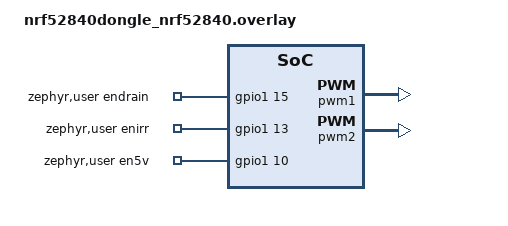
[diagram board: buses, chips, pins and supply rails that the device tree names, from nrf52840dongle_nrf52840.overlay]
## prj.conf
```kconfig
#
# Copyright (c) 2019 Nordic Semiconductor ASA
#
# SPDX-License-Identifier: LicenseRef-BSD-5-Clause-Nordic
#
CONFIG_NCS_SAMPLES_DEFAULTS=y

# General configuration
CONFIG_SYSTEM_WORKQUEUE_STACK_SIZE=2048
CONFIG_FLASH=y
CONFIG_FLASH_MAP=y
CONFIG_NVS=y
CONFIG_SETTINGS=y
CONFIG_HWINFO=y

# Bluetooth configuration
CONFIG_BT=y
CONFIG_BT_COMPANY_ID=0x0059
CONFIG_BT_DEVICE_NAME="Servo Valve v2"
CONFIG_BT_L2CAP_TX_MTU=69
CONFIG_BT_L2CAP_TX_BUF_COUNT=8
CONFIG_BT_OBSERVER=y
CONFIG_BT_PERIPHERAL=y
CONFIG_BT_SETTINGS=y
CONFIG_BT_TINYCRYPT_ECC=y
CONFIG_BT_MAX_CONN=3

# Disable unused Bluetooth features
CONFIG_BT_CTLR_DUP_FILTER_LEN=0
CONFIG_BT_CTLR_LE_ENC=n
CONFIG_BT_DATA_LEN_UPDATE=n
CONFIG_BT_PHY_UPDATE=n
CONFIG_BT_CTLR_CHAN_SEL_2=n
CONFIG_BT_CTLR_MIN_USED_CHAN=n
CONFIG_BT_CTLR_PRIVACY=n

# Bluetooth Mesh configuration standrad node configuration
CONFIG_BT_MESH=y
CONFIG_BT_MESH_ADV_BUF_COUNT=13
CONFIG_BT_MESH_TX_SEG_MAX=10
CONFIG_BT_MESH_PB_GATT=y
# Bluetooth Mesh Node Features Normal
#CONFIG_BT_MESH_RELAY=y
#CONFIG_BT_MESH_FRIEND=y
#CONFIG_BT_MESH_FRIEND_LPN_COUNT=10
#CONFIG_BT_MESH_GATT_PROXY=y
# Bluetooth Mesh Node Features LPN
CONFIG_BT_MESH_RELAY=n
CONFIG_BT_MESH_FRIEND=n
CONFIG_BT_MESH_LOW_POWER=y
CONFIG_BT_MESH_LPN_AUTO=y
CONFIG_BT_MESH_LPN_AUTO_TIMEOUT=5
#600 = 60s
CONFIG_BT_MESH_LPN_POLL_TIMEOUT=100
CONFIG_BT_MESH_GATT_PROXY=n
# Power Managment Device -> Needed for LPN
CONFIG_PM=y
CONFIG_PM_DEVICE=y
CONFIG_PM_DEVICE_RUNTIME=y
CONFIG_PM_CPU_OPS=y
#CONFIG_SERIAL=n

# Bluetooth Mesh models
CONFIG_BT_MESH_ONOFF_SRV=y

# GPIO
CONFIG_GPIO=y

# Servos PWM
CONFIG_PWM=y
CONFIG_PWM_LOG_LEVEL_DBG=y

#For Reset
CONFIG_REBOOT=y

#For nRF52 Dongle (enable if flashed over USB / Disable if FLashed over SWD)
CONFIG_BOARD_HAS_NRF5_BOOTLOADER=y

#For Long Range Bluetooth Mesh
CONFIG_BT_CTLR_TX_PWR_PLUS_8=y
CONFIG_BT_MESH_ADV_EXT=y
```

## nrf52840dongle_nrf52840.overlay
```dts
/ {
	aliases {
		pwm-servo-valve-drain = &pwm_drain_valve;
		pwm-servo-valve-irrigation = &pwm_irrigation_valve;
	};

	pwmleds {
		pwm_drain_valve: pwm_drain_valve {
			pwms = <&pwm1 31>;
		};
		pwm_irrigation_valve: pwm_irrigation_valve {
			pwms = <&pwm2 29>;
		};
	};
};



&pwm1 {
	status = "okay";
	ch0-pin = <31>;
	ch0-inverted;
};

&pwm2 {
	status = "okay";
	ch0-pin = <29>;
	ch0-inverted;
};

#include <dt-bindings/gpio/gpio.h>

/ {
     zephyr,user {
             handle = <&gpio0>;
             handles = <&gpio0>, <&gpio1>;
             endrain-gpios = <&gpio1 15 GPIO_ACTIVE_HIGH>;
			 enirr-gpios = <&gpio1 13 GPIO_ACTIVE_HIGH>;
			 en5v-gpios = <&gpio1 10 GPIO_ACTIVE_HIGH>;
     };
};
```

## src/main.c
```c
#include <zephyr.h>
#include <sys/reboot.h>
#include <sys/util.h>
#include <device.h>
#include <drivers/gpio.h>
#include <drivers/pwm.h>
#include <drivers/hwinfo.h>
#include <pm/device.h>

#include <bluetooth/bluetooth.h>
#include <bluetooth/mesh.h>
#include <bluetooth/mesh/models.h>
#include <bluetooth/mesh/model_types.h>

/* ---------- Led ------------------- */
static struct gpio_dt_spec led = GPIO_DT_SPEC_GET_OR(DT_ALIAS(led0), gpios,{0});

/* ---------- Reset Button ------------------- */
static const struct gpio_dt_spec button = GPIO_DT_SPEC_GET_OR(DT_ALIAS(sw0), gpios, {0});
static struct gpio_callback button_cb_data;
static struct k_work_delayable buttons_debounce;

static void reset()
{
  printk("Reboot now!\n");
  sys_reboot(SYS_REBOOT_COLD);
}

static void buttons_debounce_fn(struct k_work *work)
{
  if (gpio_pin_get_dt(&button) == true)
  {
    reset();
  }
}

void button_pressed(const struct device *dev, struct gpio_callback *cb,
                    uint32_t pins)
{
  printk("Button pressed at %" PRIu32 "\n", k_cycle_get_32());
  k_work_reschedule(&buttons_debounce, K_MSEC(5 * 1000)); // Debounce the Button
}

/* ---------- PWM Servo Valves ------------------- */
#define PERIOD_USEC (20U * USEC_PER_MSEC)
#define VALVE_CLOSED_PULSE_USEC (177U * 100)
#define VALVE_OPEND_PULSE_USEC (187U * 100)

#define PWM_DRAIN_VALVE_NODE                DT_NODELABEL(pwm_drain_valve)
#define PWM_DRAIN_VALVE_CTLR                DT_PWMS_CTLR(PWM_DRAIN_VALVE_NODE)
#define PWM_DRAIN_VALVE_CHANNEL             DT_PWMS_CHANNEL(PWM_DRAIN_VALVE_NODE)

#define PWM_IRRIGATION_VALVE_NODE                DT_NODELABEL(pwm_irrigation_valve)
#define PWM_IRRIGATION_VALVE_CTLR                DT_PWMS_CTLR(PWM_IRRIGATION_VALVE_NODE)
#define PWM_IRRIGATION_VALVE_CHANNEL             DT_PWMS_CHANNEL(PWM_IRRIGATION_VALVE_NODE)

static const struct device *pwm_valve_drain;
static const struct device *pwm_valve_irrigation;

/* ---------- GPIO User ------------------- */
static const struct gpio_dt_spec gpio_enable_drain = GPIO_DT_SPEC_GET(DT_PATH(zephyr_user), endrain_gpios);
static const struct gpio_dt_spec gpio_enable_irr = GPIO_DT_SPEC_GET(DT_PATH(zephyr_user), enirr_gpios);
static const struct gpio_dt_spec gpio_enable_5v = GPIO_DT_SPEC_GET(DT_PATH(zephyr_user), en5v_gpios);
static struct k_work_delayable gpio_enable_valves_off;

static void gpio_enable_valves_off_fn(struct k_work *work)
{
  gpio_pin_set_dt(&gpio_enable_drain, 0);
  gpio_pin_set_dt(&gpio_enable_irr, 0);
  gpio_pin_set_dt(&gpio_enable_5v, 0);
  device_busy_clear(pwm_valve_irrigation);
  device_busy_clear(pwm_valve_drain);
}

/* ------------ Bluetooth Mesh -------------- */
/* Provisioning */
static int output_number(bt_mesh_output_action_t action, uint32_t number)
{
  printk("OOB Number: %u\n", number);
  return 0;
}

static void prov_complete(uint16_t net_idx, uint16_t addr)
{
  printk("Prov complete! Addr: 0x%04x\n", addr);
}

static void prov_reset(void)
{
  printk("Prov reset!\n");
  bt_mesh_prov_enable(BT_MESH_PROV_ADV | BT_MESH_PROV_GATT);
}

static uint8_t dev_uuid[16];

static const struct bt_mesh_prov prov = {
    .uuid = dev_uuid,
    .output_size = 4,
    .output_actions = BT_MESH_DISPLAY_NUMBER,
    .output_number = output_number,
    .complete = prov_complete,
    .reset = prov_reset,
};

/* ON/OFF Server definition drain valve */
static void valve_set(struct bt_mesh_onoff_srv *srv, struct bt_mesh_msg_ctx *ctx, const struct bt_mesh_onoff_set *set, struct bt_mesh_onoff_status *rsp);
static void valve_get(struct bt_mesh_onoff_srv *srv, struct bt_mesh_msg_ctx *ctx, struct bt_mesh_onoff_status *rsp);

static const struct bt_mesh_onoff_srv_handlers onoff_handlers = {
    .set = valve_set,
    .get = valve_get,
};

struct valve_ctx {
	struct bt_mesh_onoff_srv srv;
  bool status;
};

static struct valve_ctx valve_ctx[] = {
  { .srv = BT_MESH_ONOFF_SRV_INIT(&onoff_handlers)},
  { .srv = BT_MESH_ONOFF_SRV_INIT(&onoff_handlers)},
};

static void valve_set(struct bt_mesh_onoff_srv *srv, struct bt_mesh_msg_ctx *ctx, const struct bt_mesh_onoff_set *set, struct bt_mesh_onoff_status *rsp)
{
  gpio_pin_set_dt(&led, set->on_off);
  struct valve_ctx *valve = CONTAINER_OF(srv, struct valve_ctx, srv);
  int valve_idx = valve - &valve_ctx[0];
  if (valve_idx == 0){
    device_busy_set(pwm_valve_drain);
    gpio_pin_set_dt(&gpio_enable_drain, 1);
    pwm_pin_set_usec(pwm_valve_drain, PWM_DRAIN_VALVE_CHANNEL, PERIOD_USEC, set->on_off ? VALVE_OPEND_PULSE_USEC : VALVE_CLOSED_PULSE_USEC, 0);       //Drain Valve
  } else if (valve_idx == 1){
    device_busy_set(pwm_valve_irrigation);
    gpio_pin_set_dt(&gpio_enable_irr, 1);
    pwm_pin_set_usec(pwm_valve_irrigation, PWM_IRRIGATION_VALVE_CHANNEL, PERIOD_USEC, set->on_off ? VALVE_OPEND_PULSE_USEC : VALVE_CLOSED_PULSE_USEC, 0);       //Irrigation Valve
  }
  gpio_pin_set_dt(&gpio_enable_5v, 1);
  valve_ctx[valve_idx].status = set->on_off;
  k_work_reschedule(&gpio_enable_valves_off, K_MSEC(300));
}

static void valve_get(struct bt_mesh_onoff_srv *srv, struct bt_mesh_msg_ctx *ctx, struct bt_mesh_onoff_status *rsp)
{
  struct valve_ctx *valve = CONTAINER_OF(srv, struct valve_ctx, srv);
  int valve_idx = valve - &valve_ctx[0];
  rsp->present_on_off = valve_ctx[valve_idx].status;
}

/* Health Server definition */
static void attention_on(struct bt_mesh_model *model)
{
  printk("attention_on!\n");
}
static void attention_off(struct bt_mesh_model *model)
{
  printk("attention_off!\n");
}
static const struct bt_mesh_health_srv_cb health_srv_cb = {
    .attn_on = attention_on,
    .attn_off = attention_off,
};
static struct bt_mesh_health_srv health_srv = {
    .cb = &health_srv_cb,
};
BT_MESH_HEALTH_PUB_DEFINE(health_pub, 0);

/* Define all Elements */
static struct bt_mesh_elem elements[] = {
    BT_MESH_ELEM(
        1, BT_MESH_MODEL_LIST(BT_MESH_MODEL_CFG_SRV, BT_MESH_MODEL_HEALTH_SRV(&health_srv, &health_pub), BT_MESH_MODEL_ONOFF_SRV(&valve_ctx[0].srv)),BT_MESH_MODEL_NONE),
    BT_MESH_ELEM(
        2, BT_MESH_MODEL_LIST(BT_MESH_MODEL_ONOFF_SRV(&valve_ctx[1].srv)),BT_MESH_MODEL_NONE)};

/* Create Composition */
static const struct bt_mesh_comp comp = {
    .cid = CONFIG_BT_COMPANY_ID,
    .elem = elements,
    .elem_count = ARRAY_SIZE(elements),
};

/* Bluetooth */
static void bt_ready(int err)
{
  if (err)
  {
    printk("Bluetooth init failed (err %d)\n", err);
    return;
  }

  printk("Bluetooth initialized\n");

  err = bt_mesh_init(&prov, &comp);
  if (err)
  {
    printk("Initializing mesh failed (err %d)\n", err);
    return;
  }

  if (IS_ENABLED(CONFIG_SETTINGS))
  {
    settings_load();
  }

  /* --------------- Reset Mesh ------------*/
	if(gpio_pin_get_dt(&button)){
		printk("Reset Mesh!\n");
		bt_mesh_reset();
	}

  /* This will be a no-op if settings_load() loaded provisioning info */
  bt_mesh_prov_enable(BT_MESH_PROV_ADV | BT_MESH_PROV_GATT);

  printk("Mesh initialized\n");
}

/**@brief Function for setup
 */
void setup(void)
{
  //Init Led
  gpio_pin_configure_dt(&led, GPIO_OUTPUT_INACTIVE);
  //Init Reset Button
  gpio_pin_configure_dt(&button, GPIO_INPUT);
  gpio_pin_interrupt_configure_dt(&button, GPIO_INT_EDGE_TO_ACTIVE);
  gpio_init_callback(&button_cb_data, button_pressed, BIT(button.pin));
  gpio_add_callback(button.port, &button_cb_data);
  k_work_init_delayable(&buttons_debounce, buttons_debounce_fn);
  //Init Valves
  pwm_valve_drain = DEVICE_DT_GET(PWM_DRAIN_VALVE_CTLR);
  pwm_valve_irrigation = DEVICE_DT_GET(PWM_IRRIGATION_VALVE_CTLR);
  pwm_pin_set_usec(pwm_valve_drain, PWM_DRAIN_VALVE_CHANNEL, PERIOD_USEC, VALVE_OPEND_PULSE_USEC, 0);       //Open Drain Valve
  pwm_pin_set_usec(pwm_valve_irrigation, PWM_IRRIGATION_VALVE_CHANNEL, PERIOD_USEC, VALVE_CLOSED_PULSE_USEC, 0); //Close Irrigation Valve
  //Init GPIO
  gpio_pin_configure_dt(&gpio_enable_drain, GPIO_OUTPUT_INACTIVE);
  gpio_pin_configure_dt(&gpio_enable_irr, GPIO_OUTPUT_INACTIVE);
  k_work_init_delayable(&gpio_enable_valves_off, gpio_enable_valves_off_fn);
  //Init Bluetooth Mesh
  static int err;
  if (IS_ENABLED(CONFIG_HWINFO)) {
		err = hwinfo_get_device_id(dev_uuid, sizeof(dev_uuid));
	}
	if (err < 0) {
		dev_uuid[0] = 0xdd;
		dev_uuid[1] = 0xdd;
	}
  //Init Bluetooth
	bt_enable(bt_ready);
}

/**@brief Function for application main entry.
 */
void main(void)
{
  //Init
  printk("Init...\n");
  setup();
  // Start Application
  printk("Starting Application...\n");
}
```
